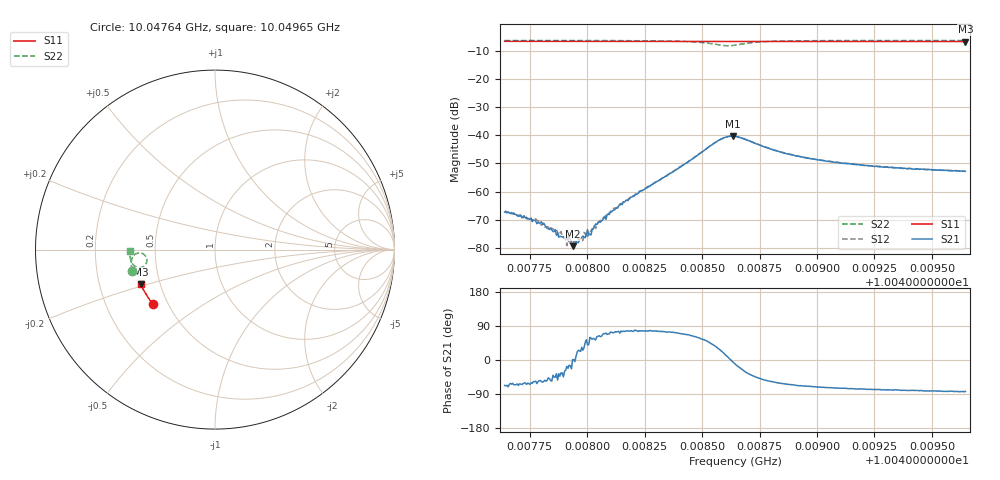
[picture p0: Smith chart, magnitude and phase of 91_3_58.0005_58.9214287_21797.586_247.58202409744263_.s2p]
#  HZ  S  RI  R  50.00
! Rohde & Schwarz Vector Network Analyzer
! Rohde-Schwarz,ZNB20-2Port,1311601062101988,3.16
! Created: UTC 3/21/2024, 12:54:19 AM
! freq[Hz]  re:S11  im:S11  re:S21  im:S21  re:S12  im:S12  re:S22  im:S22
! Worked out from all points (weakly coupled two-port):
!   401 points, 10.04764 GHz to 10.04965 GHz, reference 50 ohm
!   highest |S21| = -40.36 dB at 10.04863 GHz (marker M1); lowest = -79.3 dB at 10.04794 GHz (marker M2)
!   lowest |S11| = -6.8 dB at 10.04965 GHz (marker M3), VSWR 2.68, Z = 19.4 - j9.45 ohm
!   |S11| at or under -10 dB: nowhere
!   |S22| runs from -8.3 to -6.4 dB; largest |S21 - S12| = 0.00066
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1.004764e10  -0.3445 -0.3048  0.000168 -0.0004  0.000209 -0.000388  -0.4618 -0.1176
1.0047781e10  -0.3505 -0.2976  0.000126 -0.000239  0.000166 -0.000266  -0.4638 -0.1073
1.0047806e10  -0.3515 -0.2961  0.00014 -0.000229  0.000154 -0.000216  -0.464 -0.1051
1.0047876e10  -0.3542 -0.2924  0.000126 -9.22e-05  0.000136 -9.91e-05  -0.4649 -0.0997
1.0047896e10  -0.3551 -0.2913  0.000114 -0.000113  0.000138 -7.4e-05  -0.4652 -0.098
1.0047901e10  -0.3553 -0.2913  0.000133 -7.66e-05  0.000137 -5.45e-05  -0.4653 -0.0977
1.0047921e10  -0.3562 -0.2901  0.000156 -3.82e-05  0.000112 -3.56e-05  -0.4654 -0.096
1.0047936e10  -0.3568 -0.2893  0.000108 2.1e-06  0.000112 6.76e-06  -0.4657 -0.0948
1.0047946e10  -0.3572 -0.2888  0.000112 -7.9e-06  0.000128 2.52e-06  -0.4656 -0.094
1.0047976e10  -0.3584 -0.2872  0.00013 8.66e-05  0.000127 5.17e-05  -0.466 -0.0914
1.0048016e10  -0.3599 -0.285  9.14e-05 0.000144  0.000112 0.000161  -0.4664 -0.0879
1.0048042e10  -0.361 -0.2837  0.000126 0.000228  0.000111 0.000221  -0.4663 -0.0857
1.0048117e10  -0.3638 -0.2797  0.000143 0.000448  0.000134 0.000492  -0.4669 -0.0786
1.0048312e10  -0.3714 -0.269  0.000404 0.00154  0.000301 0.00154  -0.4643 -0.0559
1.0048563e10  -0.38 -0.2547  0.00639 0.00429  0.00613 0.00467  -0.4041 -0.0221
1.0048603e10  -0.381 -0.2527  0.009 0.00206  0.00891 0.00264  -0.3823 -0.0448
1.0048633e10  -0.3819 -0.2511  0.00956 -0.000813  0.00965 -0.000164  -0.3813 -0.0712
1.0048643e10  -0.3823 -0.2508  0.00936 -0.00174  0.00947 -0.00108  -0.3846 -0.0793
1.0048839e10  -0.3896 -0.2401  0.00244 -0.00443  0.00273 -0.00434  -0.457 -0.0832
1.0048979e10  -0.3942 -0.232  0.00128 -0.00356  0.00149 -0.00353  -0.4674 -0.0638
1.0049315e10  -0.4048 -0.2123  0.000525 -0.00263  0.00068 -0.00259  -0.4741 -0.0315
1.0049646e10  -0.4138 -0.1923  0.000281 -0.00228  0.000377 -0.00226  -0.4754 -0.00597
